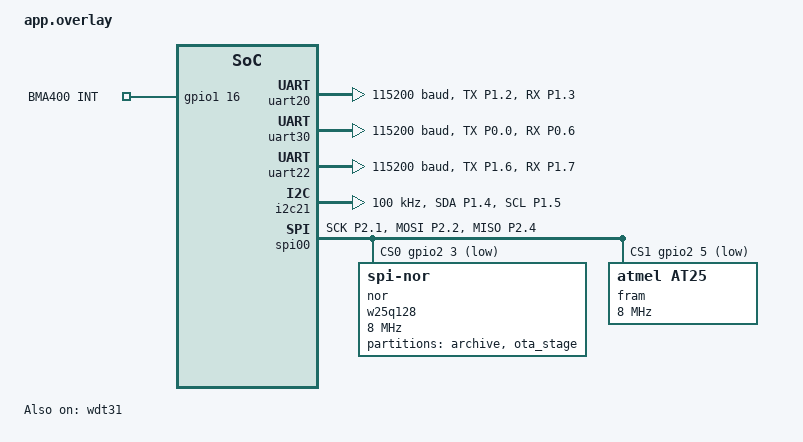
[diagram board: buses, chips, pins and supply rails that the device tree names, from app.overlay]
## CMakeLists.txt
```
cmake_minimum_required(VERSION 3.20.0)
find_package(Zephyr REQUIRED HINTS $ENV{ZEPHYR_BASE})
project(sw_gateway)

# sensor_proto.h lives in src/ (self-contained repo).
# NOTE: gnss.c/.h and ec200.c/.h are reused from the wagen1 GPS->MQTT project.
# The QMTSUB/QMTRECV additions for receiving downlink commands go into ec200.c
# (see ec200_cmd.c for the exact AT commands).
target_sources(app PRIVATE
	src/main.c
	src/motion.c
	src/nodes.c
	src/node_link.c
	src/ble_sensors.c
	src/telemetry.c
	src/thermal.c
	src/gwalarm.c
	src/ota.c
	src/nodeota.c
	src/ec200_cmd.c
	src/power.c
	src/watchdog.c
	src/charger.c
	src/config.c
	src/sw_secure.c
	src/sht40.c
	src/bma400.c
	src/storage.c
	src/gnss.c
	src/ec200.c
	src/modem_simple.c
)
```

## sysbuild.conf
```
# Build MCUboot as the bootloader (dual-slot, signed images) alongside the app.
SB_CONFIG_BOOTLOADER_MCUBOOT=y

# Production image-signing key. PUBLIC half is compiled into MCUboot; PRIVATE
# half signs each image. Absolute path, deliberately outside the repo.
# Losing this file means no deployed device will ever accept another OTA.
SB_CONFIG_BOOT_SIGNATURE_KEY_FILE="D:/Z_CONTROLLER_DATA/7.NRF54L15/FIRST_TRIAL/keys/sw_signing_key.pem"
```

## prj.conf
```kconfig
# --- BLE: observe sensor nodes + central (relay OTA to nodes) + peripheral
#         (field-service SMP DFU of the gateway itself) ---
CONFIG_BT=y
CONFIG_BT_OBSERVER=y
CONFIG_BT_CENTRAL=y
CONFIG_BT_PERIPHERAL=y

# --- MCUboot dual-slot firmware update (gateway self-OTA via cellular) ---
CONFIG_BOOTLOADER_MCUBOOT=y

# --- SMP over BLE (MCUmgr): field-service DFU of the gateway ---
CONFIG_MCUMGR=y
CONFIG_MCUMGR_TRANSPORT_BT=y
CONFIG_MCUMGR_GRP_IMG=y
CONFIG_MCUMGR_GRP_OS=y
# (OS-group reset ships with MCUMGR_GRP_OS in current NCS; the old
#  MCUMGR_GRP_OS_RESET symbol was removed.)
CONFIG_IMG_MANAGER=y
CONFIG_STREAM_FLASH=y
CONFIG_FLASH=y
CONFIG_FLASH_MAP=y
CONFIG_ZCBOR=y
CONFIG_CRC=y
# For relaying an image to a sub-node, add the MCUmgr image-upload CLIENT
# (NCS): CONFIG_MCUMGR_GRP_IMG_CLIENT=y + CONFIG_SMP_CLIENT=y  (see node_dfu.c)

# --- UARTs: LC29H GPS + EC200 modem (interrupt-driven) ---
CONFIG_SERIAL=y
CONFIG_UART_INTERRUPT_DRIVEN=y
CONFIG_RING_BUFFER=y             # gnss.c / ec200.c ISR<->thread byte FIFOs

# --- GPIO (BMA400 impact-wake INT on P1.16) ---
CONFIG_GPIO=y

# --- I2C for BMA400 + SHT40 (SDA=P1.04, SCL=P1.05) ---
CONFIG_I2C=y

# --- Memory: NOR (store-and-forward) + FRAM (pointers) on SPI (P2) ---
CONFIG_SPI=y
CONFIG_FLASH=y
CONFIG_FLASH_MAP=y
CONFIG_FLASH_PAGE_LAYOUT=y
CONFIG_SPI_NOR=y
# Runtime SFDP: the driver reads the NOR's parameter table from the chip at boot
# (no 'sfdp-bfp' devicetree blob needed). Switch back to SFDP_DEVICETREE only if
# you add the W25Q128 sfdp-bfp + jedec-id to the node to shave the boot read.
CONFIG_SPI_NOR_SFDP_RUNTIME=y
CONFIG_EEPROM=y
CONFIG_EEPROM_AT25=y              # generic SPI FRAM/EEPROM (verify part)
CONFIG_CBPRINTF_FP_SUPPORT=y      # (already set) for %f in payloads

# --- Console is repinned to the debug header on P1.02/P1.03 (NFC pins).
#     Schematic confirms D_TX = P1.02/NFC1 and D_RX = P1.03/NFC2, so the NFC
#     function MUST be released or the console is dead.
#     On the nRF54L15 that is NOT a Kconfig: CONFIG_NFCT_PINS_AS_GPIOS is an
#     nRF52/nRF53-only symbol and assigning it here is a fatal Kconfig warning.
#     The nRF54L equivalent is a UICR devicetree property - see
#     "&uicr { nfct-pins-as-gpios; }" in app.overlay. ---

# --- events + float printf for the JSON payload ---
CONFIG_EVENTS=y
CONFIG_CBPRINTF_FP_SUPPORT=y
CONFIG_FPU=y
CONFIG_PICOLIBC=y

CONFIG_MAIN_STACK_SIZE=6144
CONFIG_HEAP_MEM_POOL_SIZE=4096

# sys_reboot() for the reboot command / OTA apply
CONFIG_REBOOT=y
CONFIG_POWEROFF=y                 # sys_poweroff() -> System OFF (deepest)

# --- OTA / DFU: stream the HTTP-downloaded image into MCUboot's slot-1 ---
# Requires MCUboot as the bootloader (enable in sysbuild: SB_CONFIG_BOOTLOADER_MCUBOOT=y)
CONFIG_BOOTLOADER_MCUBOOT=y
CONFIG_IMG_MANAGER=y
CONFIG_STREAM_FLASH=y
CONFIG_IMG_ERASE_PROGRESSIVELY=y  # erase slot-1 as we write, not all up front
CONFIG_DFU_TARGET=y
CONFIG_DFU_TARGET_MCUBOOT=y
CONFIG_DFU_TARGET_STREAM=y

# =========================================================================
#  POWER MANAGEMENT (6-year battery target)
# =========================================================================
# Tickless kernel (default on) + PM => the idle thread automatically puts the
# SoC into System ON idle (CPU asleep, RADIO/GRTC/GPIO alive) whenever every
# thread is blocked. The BLE controller keeps scanning in hardware and wakes
# the CPU only for radio events, so BLE interrupts KEEP WORKING while idle.
# System OFF is NOT entered automatically here (it would kill the radio); it is
# used explicitly via sys_poweroff() only when a GPIO is the sole wake source.
# NOTE: CONFIG_PM (system PM) is unavailable on the nRF54L15 in NCS v3.4.0 -
# only the nRF54H/nRF92 families "select HAS_PM", so this assignment is dropped
# and raises a fatal Kconfig warning. No behaviour is lost: the tickless kernel
# already enters System ON idle whenever every thread blocks, and sys_poweroff()
# still reaches System OFF explicitly.
# ---- device power management (RDSO s5.1.20, 6-year life) ----
#
# Both of these were switched OFF while the modem transport was being debugged,
# on the theory that a suspended UARTE was eating the AT replies. That theory
# was wrong: the real fault was in app.overlay, which redefined uart22_default
# with TX and RX swapped and so overrode the corrected board pinctrl. With the
# pins right the modem answers, and there is no longer any reason to run the
# board with power management disabled.
#
# PM_DEVICE alone is passive - nothing suspends unless the application asks it
# to. It buys back the NOR deep-power-down in power.c (mem_power_off()), worth
# ~1 uA of the standing budget.
CONFIG_PM_DEVICE=y

# PM_DEVICE_RUNTIME is the active one: an idle peripheral is auto-suspended,
# and a suspended UARTE applies its `sleep` pinctrl, which carries
# low-power-enable and DISCONNECTS the pins. That is safe here ONLY because
# power.c now holds a runtime-PM reference across each modem/GNSS session -
# see uart_pm_get()/uart_pm_put() there. The reference is taken beside the
# board_out() that raises the rail and dropped beside the one that cuts it, so
# the UART is resumed for exactly as long as the module it talks to has power.
#
# Runtime PM is opted into per device, in power_init(), for uart22 (modem) and
# uart30 (GNSS) only. The console uart20 is deliberately left alone: suspending
# it would drop debug output, and it is not on the switched rail anyway.
CONFIG_PM_DEVICE_RUNTIME=y

# BMA400 impact line must be able to wake even from System OFF (GPIO SENSE).
CONFIG_GPIO=y

# Reset-cause reporting at boot. Brownout, watchdog and software reset demand
# different responses and are otherwise indistinguishable on the console.
CONFIG_HWINFO=y

# Keep the console quiet/deferred so logging never blocks or wakes the CPU.
CONFIG_LOG=y
CONFIG_LOG_MODE_DEFERRED=y
# Deferred logging hands messages to a worker thread through a fixed buffer.
# Early boot produces them far faster than a 115200 console can drain, so the
# default 1 KB overflows and the subsystem prints "--- N messages dropped ---".
# Nothing is wrong when that appears - it is the log subsystem being honest -
# but the dropped lines are exactly the driver init messages worth reading.
CONFIG_LOG_BUFFER_SIZE=8192

# =========================================================================
#  PSA CRYPTO - decrypt/authenticate the encrypted BLE sensor adverts
# =========================================================================
# AES-CCM (advert payload) + HKDF-SHA256 (per-wagon key from the wagon number).
# nRF Security selects the CRACEN/Oberon PSA backend on the nRF54L15.
#
# NOTE: do NOT set CONFIG_NRF_SECURITY. As of NCS v3.4.0 it is a promptless
# "def_bool y" enabled automatically via PSA_CRYPTO_PROVIDER_CUSTOM (the default
# provider on Nordic ARM SoCs); assigning it is a hard Kconfig error. The
# PSA_WANT_* symbols below are the real knobs.
CONFIG_PSA_WANT_KEY_TYPE_AES=y
CONFIG_PSA_WANT_KEY_TYPE_DERIVE=y
CONFIG_PSA_WANT_ALG_CCM=y
CONFIG_PSA_WANT_ALG_HKDF=y
CONFIG_PSA_WANT_ALG_HMAC=y      # HKDF depends on HMAC - required or HKDF is silently off
CONFIG_PSA_WANT_ALG_SHA_256=y

# --- Internal WDT31: the gateway has no external watchdog (sub-nodes have a
#     TPL5010). See src/watchdog.c for the liveness gate. ---
CONFIG_WATCHDOG=y

# --- BLE central + GATT client: deliver queued config to sub-nodes ---
CONFIG_BT_GATT_CLIENT=y

# --- Settings/NVS: node_link persists the per-node downlink counters here.
#     They MUST survive a gateway reboot: re-emitting a counter the node has
#     already accepted would be rejected as a replay, silently wedging that
#     node's config channel. (Gateway app config still lives in FRAM.) ---
CONFIG_SETTINGS=y
CONFIG_SETTINGS_NVS=y
CONFIG_NVS=y

# ---- ATT MTU for the sub-node image transfer -----------------------------
# One sealed image frame (struct sw_img_enc) is 215 B: a 192-byte chunk plus
# the addressing header, the ct_len and the 4-byte MIC. An ATT write request
# adds 3 B, so the link needs an MTU of at least 218 or the write is rejected
# outright and no image can ever move.
#
# These were removed when sub-node OTA was dropped, and had to come back with
# it. 247 leaves headroom without paying for a second ACL buffer size class.
CONFIG_BT_L2CAP_TX_MTU=247
CONFIG_BT_BUF_ACL_TX_SIZE=251
CONFIG_BT_BUF_ACL_RX_SIZE=251

# On-die temperature sensor - RDSO s5.1.10 requires the gateway to be able
# to halt transmissions on an internal temperature reading. See thermal.c.
CONFIG_SENSOR=y
CONFIG_TEMP_NRF5=y

# ---- BLE output power ----------------------------------------------------
# Default is 0 dBm; the nRF54L15 supports +8 dBm. This governs the gateway's
# TRANSMIT side only - the connectable config window that carries threshold and
# OTA frames down to a node. Node adverts reaching the gateway are governed by
# the node's own setting.
#
# The power cost is far easier to justify here than on a node: the gateway runs
# from a solar-fed rechargeable LTO pack, not a primary cell with a six-year
# budget.
CONFIG_BT_CTLR_TX_PWR_ANTENNA=8
```

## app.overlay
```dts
/*
 * Gateway UART/I2C/GPIO map — MATCHED TO main_node_schematic_nrf54l15.
 *
 *   Console (debug hdr D_TX/D_RX) : uart20  TX=P1.02(NFC1)  RX=P1.03(NFC2)
 *   LC29H GNSS (UART_x_LC)        : uart30  RX=P0.00        TX=P0.06
 *   EC200 modem (UART_RX/UART_TX) : uart22  RX=P1.06        TX=P1.07
 *   BMA400 + SHT40 (I2C)          : i2c21   SDA=P1.04       SCL=P1.05
 *   BMA400 INT                    : P1.16
 *
 * NOTE: P1.02/P1.03 are the NFC pins. To use them as the console UART the NFC
 * function must be released. On the nRF54L15 that is the &uicr property below,
 * NOT the nRF52/nRF53-only CONFIG_NFCT_PINS_AS_GPIOS Kconfig.
 * On the DK this repins the console off VCOM; that's correct for the custom
 * board. For DK bench testing you may prefer to leave the console at its
 * board default and only keep the GNSS/EC200/I2C/BMA changes below.
 */

/* Release P1.02/P1.03 from the NFC antenna function so uart20 can drive the
 * D_TX/D_RX debug header. Required on the QFN52 gateway board. */
&uicr {
	nfct-pins-as-gpios;
};

/*
 * Internal watchdog. The gateway board has NO external watchdog (the sub-nodes
 * have a TPL5010), so WDT31 is the only hang recovery available. It is
 * status = "disabled" in the SoC devicetree, so it must be enabled here or
 * DEVICE_DT_GET(DT_ALIAS(watchdog0)) fails to link. See src/watchdog.c.
 */
&wdt31 {
	status = "okay";
};

/ {
	/*
	 * NOTE: there is deliberately no "nordic,pm-ext-flash" chosen node here.
	 * It only takes effect with CONFIG_PARTITION_MANAGER_ENABLED, which this
	 * build does not use (it partitions from devicetree), so it was inert.
	 * Its purpose was to place MCUboot's secondary slot on the external NOR
	 * for sub-node image staging - a feature that has been removed.
	 */

	aliases {
		/* Point at the CHILD key (it carries the gpios property), not the
		 * gpio-keys parent, so GPIO_DT_SPEC_GET(DT_ALIAS(bma_int), gpios) works. */
		bma-int = &bma_int;
	};

	bma_int_node: bma-int-node {
		compatible = "gpio-keys";     /* gives us a gpios phandle */
		bma_int: bma_int {
			gpios = <&gpio1 16 (GPIO_ACTIVE_HIGH)>;  /* BMA_INT = P1.16 */
			label = "BMA400 INT";
		};
	};
};

&pinctrl {
	/* Console on the debug header (D_TX/D_RX = P1.02/P1.03) */
	uart20_default: uart20_default {
		group1 { psels = <NRF_PSEL(UART_TX, 1, 2)>, <NRF_PSEL(UART_RX, 1, 3)>; };
	};
	uart20_sleep: uart20_sleep {
		group1 { psels = <NRF_PSEL(UART_TX, 1, 2)>, <NRF_PSEL(UART_RX, 1, 3)>;
			 low-power-enable; };
	};

	/*
	 * LC29H GNSS: our TX=P0.00, our RX=P0.06.
	 *
	 * Same reversal as the modem below, and the same cause - this overlay
	 * overrode the corrected board pinctrl. The schematic nets are named from
	 * the MODULE's side: UART_TX_LC carries the LC29H's TRANSMITTER (module
	 * pin 20) to nRF pin 24 = P0.06, so P0.06 is OUR receiver.
	 */
	uart30_default: uart30_default {
		group1 { psels = <NRF_PSEL(UART_TX, 0, 0)>, <NRF_PSEL(UART_RX, 0, 6)>; };
	};
	uart30_sleep: uart30_sleep {
		group1 { psels = <NRF_PSEL(UART_TX, 0, 0)>, <NRF_PSEL(UART_RX, 0, 6)>;
			 low-power-enable; };
	};

	/*
	 * EC200 modem: our TX=P1.06, our RX=P1.07.
	 *
	 * THIS OVERLAY WAS THE BUG. sw_gateway-pinctrl.dtsi was corrected to this
	 * mapping, and all_hw_test - which defines no uart22 pinctrl of its own -
	 * picked the fix up and started talking to the modem immediately. This
	 * file redefines the same pinctrl nodes and therefore OVERRODE that
	 * correction, so the application kept the original reversed pins.
	 *
	 * Per the netlist: EC200U MAIN_TXD (module pin 67, an OUTPUT) reaches nRF
	 * pin 9 = P1.07 through the TXS0102, so P1.07 must be OUR RX. With TX on
	 * P1.07 the gateway drove an output against the module's output and
	 * listened on the module's RXD input, so nothing could ever arrive -
	 * exactly what every log showed: commands sent, the NETLIGHT reacting to
	 * PWRKEY (a plain GPIO, unaffected by this), and not one byte received.
	 */
	uart22_default: uart22_default {
		group1 { psels = <NRF_PSEL(UART_TX, 1, 6)>, <NRF_PSEL(UART_RX, 1, 7)>; };
	};
	uart22_sleep: uart22_sleep {
		group1 { psels = <NRF_PSEL(UART_TX, 1, 6)>, <NRF_PSEL(UART_RX, 1, 7)>;
			 low-power-enable; };
	};

	/* BMA400 + SHT40 shared I2C: SDA=P1.04, SCL=P1.05 */
	i2c21_default: i2c21_default {
		group1 { psels = <NRF_PSEL(TWIM_SDA, 1, 4)>, <NRF_PSEL(TWIM_SCL, 1, 5)>;
			 bias-pull-up; };
	};
	i2c21_sleep: i2c21_sleep {
		group1 { psels = <NRF_PSEL(TWIM_SDA, 1, 4)>, <NRF_PSEL(TWIM_SCL, 1, 5)>;
			 low-power-enable; };
	};
};

/* console (repinned to the debug header) */
&uart20 {
	status = "okay";
	current-speed = <115200>;
	pinctrl-0 = <&uart20_default>;
	pinctrl-1 = <&uart20_sleep>;
	pinctrl-names = "default", "sleep";
};

/* GNSS */
&uart30 {
	status = "okay";
	current-speed = <115200>;
	pinctrl-0 = <&uart30_default>;
	pinctrl-1 = <&uart30_sleep>;
	pinctrl-names = "default", "sleep";
};

/* EC200 modem */
&uart22 {
	status = "okay";
	current-speed = <115200>;
	pinctrl-0 = <&uart22_default>;
	pinctrl-1 = <&uart22_sleep>;
	pinctrl-names = "default", "sleep";
};

/* sensors I2C */
&i2c21 {
	status = "okay";
	clock-frequency = <I2C_BITRATE_STANDARD>;
	pinctrl-0 = <&i2c21_default>;
	pinctrl-1 = <&i2c21_sleep>;
	pinctrl-names = "default", "sleep";
};

/*
 * Memory SPI bus (P2 high-speed SPIM): NOR (W25Q128) + FRAM.
 *   SCK=P2.01  MOSI=P2.02  MISO=P2.04   NOR_CS=P2.03  FRAM_CS=P2.05
 * NOTE: verify the SPIM node label (spi00) and the jedec-id/FRAM part for your
 * build. The NOR now carries a single 15 MB "archive" partition; the separate
 * ota_stage partition went away with sub-node firmware update.
 */
&pinctrl {
	spi00_default: spi00_default {
		group1 {
			psels = <NRF_PSEL(SPIM_SCK, 2, 1)>,
				<NRF_PSEL(SPIM_MOSI, 2, 2)>,
				<NRF_PSEL(SPIM_MISO, 2, 4)>;
		};
	};
	spi00_sleep: spi00_sleep {
		group1 {
			psels = <NRF_PSEL(SPIM_SCK, 2, 1)>,
				<NRF_PSEL(SPIM_MOSI, 2, 2)>,
				<NRF_PSEL(SPIM_MISO, 2, 4)>;
			low-power-enable;
		};
	};
};

&spi00 {
	status = "okay";
	pinctrl-0 = <&spi00_default>;
	pinctrl-1 = <&spi00_sleep>;
	pinctrl-names = "default", "sleep";
	cs-gpios = <&gpio2 3 GPIO_ACTIVE_LOW>,   /* NOR_CS  (P2.03) */
		   <&gpio2 5 GPIO_ACTIVE_LOW>;   /* FRAM_CS (P2.05) */

	nor: w25q128@0 {
		compatible = "jedec,spi-nor";
		reg = <0>;
		spi-max-frequency = <8000000>;
		jedec-id = [ef 40 18];           /* W25Q128JV */
		size = <0x8000000>;              /* 128 Mbit (bits) */
		has-dpd;
		t-enter-dpd = <3000>;
		t-exit-dpd  = <3000>;

		partitions {
			compatible = "fixed-partitions";
			#address-cells = <1>;
			#size-cells = <1>;
			/*
			 * W25Q128 (jedec-id ef 40 18), 128 Mbit = 16 MB:
			 *
			 *   0x000000   1.0 MB  reserved (head kept clear)
			 *   0x100000  14.5 MB  archive   - store-and-forward
			 *   0xF80000   0.5 MB  ota_stage - ONE sub-node image
			 *
			 * THESE MUST MATCH pm_static.yml EXACTLY. They previously did
			 * not: this file gave the archive 15 MB running to the end of
			 * the chip, while PM placed a 1 MB ota_partition at 0xF00000 -
			 * INSIDE that range. The store-and-forward ring would have
			 * overwritten a staged firmware image.
			 *
			 * 0.5 MB is sized on the real signed sub-node image
			 * (193,712 B). Only ONE is ever staged: NODE_ID is
			 * compile-time, so every node has a different image and they
			 * are delivered one at a time regardless.
			 *
			 * Archive capacity: records span 1 KB SLOTS (storage.c) and a
			 * heartbeat is ~1.7 KB = 2 slots, so 14.5 MB holds ~7400
			 * heartbeats - about 51 days at the 10-minute moving cadence,
			 * comfortably past the 30-day requirement. (An older comment
			 * here said "4 KB per record", which the code has never done;
			 * that figure made the archive look half its real depth.)
			 *
			 * RESIZING THIS LATER DISCARDS THE BACKLOG. The ring's
			 * head/tail are SLOT NUMBERS held in FRAM, and slot count is
			 * derived from this partition size. Change the size and the
			 * two disagree, so storage_init() detects it (head/tail >=
			 * num_slots) and resets the ring to empty. It cannot corrupt
			 * or crash - but any telemetry still queued for upload on that
			 * gateway is lost on the next boot. Safe to change now; costly
			 * once units are deployed offline.
			 */
			archive_partition: partition@100000 {
				label = "archive";
				reg = <0x100000 0xE80000>;
			};

			/* Staging area for ONE sub-node firmware image: the gateway
			 * downloads it over HTTP, then relays it to the target node
			 * over the authenticated BLE downlink. Erased after delivery
			 * so the next node's image can be staged. */
			ota_partition: partition@f80000 {
				label = "ota_stage";
				reg = <0xF80000 0x80000>;
			};
		};
	};

	fram: fram@1 {
		compatible = "atmel,at25";       /* generic SPI FRAM/EEPROM */
		reg = <1>;
		spi-max-frequency = <8000000>;
		size = <0x80000>;                /* 512 KB (bytes) */
		pagesize = <0x80000>;            /* FRAM: no page-write limit */
		address-width = <24>;
		timeout = <1>;
	};
};
```

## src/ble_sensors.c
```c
/*
 * Gateway BLE observer: passively scans for Smart Wagon sensor-node
 * advertisements, caches the latest reading per node_id, and raises a
 * callback when a node broadcasts an ALARM. Low duty cycle for battery life.
 */

#include <zephyr/kernel.h>
#include <zephyr/bluetooth/bluetooth.h>
#include <string.h>

#include "ble_sensors.h"
#include "sw_secure.h"
#include "app_config.h"
#include "nodes.h"

/* BLE scan interval/window are in 0.625 ms units. */
#define BLE_SCAN_UNITS(ms)  ((uint16_t)((ms) * 8 / 5))

static struct sw_node_entry cache[SW_MAX_NODES];
static struct k_mutex       cache_lock;
static void (*alarm_cb)(const struct sw_adv *a, int8_t rssi);
static uint16_t my_group;      /* this wagon's group; 0 = accept all */

/* Anti-replay: last accepted nonce counter per node (must strictly increase). */
static uint32_t last_ctr[SW_MAX_NODES];
static bool     have_ctr[SW_MAX_NODES];

void ble_sensors_set_group(uint16_t wgn_group) { my_group = wgn_group; }

struct parse_ctx { int8_t rssi; const bt_addr_le_t *addr; };

/* Fired when a node opens its CONNECTABLE config/DFU window. The node beacons
 * 4 bytes of manufacturer data (company id + node id + type) - far shorter than
 * sw_adv_enc, so the uplink branch below skips it and the two never collide. */
static void (*window_cb)(uint8_t node_id, uint8_t node_type,
			 const bt_addr_le_t *addr);

void ble_sensors_register_window_cb(void (*cb)(uint8_t, uint8_t,
					       const bt_addr_le_t *))
{
	window_cb = cb;
}

/* Called for each AD structure in an advertisement. */
static bool ad_parse(struct bt_data *data, void *user)
{
	struct parse_ctx *ctx = user;

	/* Sub-node connectable window beacon: company id + node id + node type. */
	if (data->type == BT_DATA_MANUFACTURER_DATA && data->data_len == 4) {
		uint16_t cid = (uint16_t)data->data[0] | ((uint16_t)data->data[1] << 8);

		if (cid == SW_COMPANY_ID && window_cb) {
			window_cb(data->data[2], data->data[3], ctx->addr);
		}
		return false;
	}

	if (data->type == BT_DATA_MANUFACTURER_DATA &&
	    data->data_len >= sizeof(struct sw_adv_enc)) {
		struct sw_adv_enc enc;
		memcpy(&enc, data->data, sizeof(enc));

		/* Cheap cleartext checks first (no crypto for foreign packets). */
		if (enc.company_id != SW_COMPANY_ID ||
		    enc.proto_ver  != SW_PROTO_VER) {
			return true;    /* not ours; keep scanning AD fields */
		}
		/* MULTI-WAGON FILTER: reject other wagons' groups outright. */
		if (my_group != 0 && enc.wgn_group != my_group) {
			return false;
		}
		if (enc.node_id >= SW_MAX_NODES) {
			return false;
		}

		/* Verify + decrypt. A bad tag (tamper / wrong key) -> drop. */
		struct sw_adv a;
		if (sw_secure_open(&enc, &a) != 0) {
			return false;
		}

		k_mutex_lock(&cache_lock, K_FOREVER);
		/* Anti-replay: counter must strictly increase per node. */
		if (have_ctr[enc.node_id] && enc.ctr <= last_ctr[enc.node_id]) {
			k_mutex_unlock(&cache_lock);
			return false;   /* replayed / stale advert */
		}
		last_ctr[enc.node_id] = enc.ctr;
		have_ctr[enc.node_id] = true;

		bool first = !cache[enc.node_id].seen;

		cache[enc.node_id].seen  = true;
		cache[enc.node_id].data  = a;
		cache[enc.node_id].rssi  = ctx->rssi;
		cache[enc.node_id].ts_ms = k_uptime_get();
		k_mutex_unlock(&cache_lock);

#if DEBUG_TRACE
		/*
		 * Bench visibility. Nothing used to print on a SUCCESSFUL receive,
		 * so a working link and a dead one looked identical on the console
		 * and the only evidence was a heartbeat several minutes later.
		 *
		 * Reaching this point means far more than "a packet arrived": the
		 * company id, protocol version and wagon group all matched, the
		 * AES-CCM tag verified against the per-wagon key, and the replay
		 * counter advanced. So this line is proof the whole security chain
		 * lines up between this gateway and that node - which is exactly
		 * what a first bring-up needs to confirm.
		 */
		printk("RX %s node %u (%s)  val %d  val2 %d  batt %u%%  "
		       "flags 0x%02X  rssi %d\n",
		       first ? "FIRST" : "     ", enc.node_id,
		       sw_typ_str(a.node_type), a.value, a.value2, a.batt,
		       a.flags, ctx->rssi);
#endif

		/* Forward to the adjudicator (main.c) when the subnode already flags
		 * ALARM (impact / tamper / over-temp), OR when a DOOR node reports it
		 * is OPEN - the gateway itself decides whether open-while-moving is an
		 * unauthorised-door alarm, using its authoritative motion + geofence. */
		bool actionable = (a.flags & SW_FLAG_ALARM) ||
				  (a.node_type == SW_TYPE_DOOR &&
				   (a.flags & SW_FLAG_DOOR_OPEN));
		if (actionable && alarm_cb) {
			alarm_cb(&a, ctx->rssi);
		}
		return false;   /* found ours; stop parsing this advert */
	}
	return true;   /* keep scanning AD fields */
}

static void scan_cb(const bt_addr_le_t *addr, int8_t rssi, uint8_t adv_type,
		    struct net_buf_simple *buf)
{
	ARG_UNUSED(adv_type);
	struct parse_ctx ctx = { .rssi = rssi, .addr = addr };
	bt_data_parse(buf, ad_parse, &ctx);
}

int ble_sensors_init(void)
{
	k_mutex_init(&cache_lock);

	int err = bt_enable(NULL);
	if (err) {
		printk("BLE: enable failed (%d)\n", err);
		return err;
	}

	/*
	 * Critical-alarm receive window, protocol Rev.1 section 3.6:
	 * listen RX_WINDOW_MS (100 ms) every RX_INTERVAL_MS (5 s). BLE scan
	 * parameters are in 0.625 ms units, so the spec values are converted
	 * here rather than hardcoded - previously these constants existed in
	 * app_config.h but nothing used them, and the scan ran 30 ms/1000 ms.
	 */
	struct bt_le_scan_param sp = {
		.type     = BT_LE_SCAN_TYPE_PASSIVE,
		.options  = BT_LE_SCAN_OPT_NONE,
		.interval = BLE_SCAN_UNITS(RX_INTERVAL_MS),
		.window   = BLE_SCAN_UNITS(RX_WINDOW_MS),
	};
	err = bt_le_scan_start(&sp, scan_cb);
	if (err) {
		printk("BLE: scan start failed (%d)\n", err);
		return err;
	}
	printk("BLE: background observer running\n");
	return 0;
}

void ble_sensors_register_alarm_cb(void (*cb)(const struct sw_adv *a, int8_t rssi))
{
	alarm_cb = cb;
}

void ble_sensors_refresh(int window_ms)
{
	/* higher-duty boost (~83%) for a short window */
	struct bt_le_scan_param boost = {
		.type     = BT_LE_SCAN_TYPE_PASSIVE,
		.options  = BT_LE_SCAN_OPT_NONE,
		.interval = 0x0060,
		.window   = 0x0050,
	};
	/* low-power background (~3%) */
	struct bt_le_scan_param bg = {
		.type     = BT_LE_SCAN_TYPE_PASSIVE,
		.options  = BT_LE_SCAN_OPT_NONE,
		.interval = BLE_SCAN_UNITS(RX_INTERVAL_MS),
		.window   = BLE_SCAN_UNITS(RX_WINDOW_MS),
	};

	bt_le_scan_stop();
	if (bt_le_scan_start(&boost, scan_cb) == 0) {
		k_msleep(window_ms);       /* collect stragglers */
	}
	bt_le_scan_stop();
	bt_le_scan_start(&bg, scan_cb);    /* restore low-power scan */
}

int ble_sensors_snapshot(struct sw_node_entry *out, int max)
{
	int count = 0;
	k_mutex_lock(&cache_lock, K_FOREVER);
	for (int i = 0; i < SW_MAX_NODES && count < max; i++) {
		if (cache[i].seen) {
			out[count++] = cache[i];
		}
	}
	k_mutex_unlock(&cache_lock);
	return count;
}

bool ble_sensors_get(uint8_t node_id, struct sw_node_entry *out)
{
	bool seen = false;
	if (node_id < SW_MAX_NODES) {
		k_mutex_lock(&cache_lock, K_FOREVER);
		if (cache[node_id].seen) {
			*out = cache[node_id];
			seen = true;
		}
		k_mutex_unlock(&cache_lock);
	}
	return seen;
}

/* ---- scan control for the central role ---------------------------------
 * The controller cannot scan and initiate a connection simultaneously, so
 * node_link brackets its connect sequence with these. Resume restores the same
 * low-power background parameters used at init.
 */
void ble_sensors_scan_pause(void)
{
	bt_le_scan_stop();
}

void ble_sensors_scan_resume(void)
{
	struct bt_le_scan_param bg = {
		.type     = BT_LE_SCAN_TYPE_PASSIVE,
		.options  = BT_LE_SCAN_OPT_NONE,
		.interval = BLE_SCAN_UNITS(RX_INTERVAL_MS),
		.window   = BLE_SCAN_UNITS(RX_WINDOW_MS),
	};
	(void)bt_le_scan_start(&bg, scan_cb);
}

#if DEBUG_TRACE
void ble_sensors_dump(void)
{
	int64_t now  = k_uptime_get();
	int     up   = 0;

	printk("%s---- NODES (roster %d) ------------------------------------%s",
	       "\n", wagon_node_count(), "\n");

	for (int i = 0; i < wagon_node_count(); i++) {
		const struct wagon_node *w = wagon_node_at(i);
		struct sw_node_entry e;
		bool have;

		k_mutex_lock(&cache_lock, K_FOREVER);
		e    = cache[w->id];
		have = e.seen;
		k_mutex_unlock(&cache_lock);

		if (!have) {
			printk("  %2u %-8s %-8s  MISSING%s",
			       w->id, sw_typ_str(w->type), w->pos, "\n");
			continue;
		}
		up++;

		/*
		 * Age matters as much as presence: a node heard once at boot and
		 * silent since is NOT healthy, but a plain "seen" flag cannot say
		 * so. NODE_STALE_MS is the same limit telem_check_node_health()
		 * uses to raise SENSOR_FAULT, so the console and the uplink agree
		 * about what counts as down.
		 */
		int32_t age_s = (int32_t)((now - e.ts_ms) / 1000);
		const char *st = (now - e.ts_ms) > NODE_STALE_MS ? "STALE" : "ok";

		printk("  %2u %-8s %-8s  %-5s %3ds  rssi %4d  "
		       "val %6d  val2 %6d  batt %3u%%  flags 0x%02X%s",
		       w->id, sw_typ_str(w->type), w->pos, st, age_s, e.rssi,
		       e.data.value, e.data.value2, e.data.batt, e.data.flags,
		       "\n");
	}
	printk("  %d/%d heard%s%s", up, wagon_node_count(), "\n", "\n");
}
#endif
```

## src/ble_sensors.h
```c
#ifndef BLE_SENSORS_H
#define BLE_SENSORS_H

#include <stdint.h>
#include <stdbool.h>
#include <zephyr/bluetooth/addr.h>
#include "sensor_proto.h"

#define SW_MAX_NODES 20

struct sw_node_entry {
	bool           seen;
	struct sw_adv  data;
	int8_t         rssi;
	int64_t        ts_ms;      /* uptime when last heard */
};

/* Set THIS wagon's group id BEFORE init. Adverts from other groups are
 * discarded so neighbouring wagons never contaminate this wagon's data. */
void ble_sensors_set_group(uint16_t wgn_group);

/* Start BLE, begin the low-power background observer. Call once at boot. */
int  ble_sensors_init(void);

/* Register a callback fired when a node broadcasts with the ALARM flag. */
void ble_sensors_register_alarm_cb(void (*cb)(const struct sw_adv *a, int8_t rssi));

/* Register a callback fired when a sub-node opens its CONNECTABLE config/DFU
 * window. node_link uses this to connect and deliver a queued command; the
 * gateway is already scanning continuously, so no extra radio time is needed. */
void ble_sensors_register_window_cb(void (*cb)(uint8_t node_id, uint8_t node_type,
					       const bt_addr_le_t *addr));

/* Pause/resume the background observer around a central connection (the
 * controller cannot scan and initiate at the same time). */
void ble_sensors_scan_pause(void);
void ble_sensors_scan_resume(void);

/* Copy the current cache (one entry per node_id). Returns count of seen nodes. */
int  ble_sensors_snapshot(struct sw_node_entry *out, int max);

/*
 * Print the full expected roster to the console: every node this wagon should
 * have, whether it has been heard, how long ago, and its last reading.
 *
 * Deliberately driven by WAGON_NODES rather than by the receive cache, so a
 * node that has NEVER been heard still appears - as a MISSING row. A dump built
 * from the cache alone would silently omit exactly the nodes worth worrying
 * about.
 *
 * Bench aid; compiled out when DEBUG_TRACE is 0.
 */
void ble_sensors_dump(void);

/* Look up one node by id. Returns true if it has ever been heard. */
bool ble_sensors_get(uint8_t node_id, struct sw_node_entry *out);

/*
 * Briefly raise the scan duty to catch stragglers before a heartbeat, then
 * restore the low-power background scan. Called only at report time (every
 * 10 min / 12 h) so the extra RX energy is negligible. Blocks for window_ms.
 */
void ble_sensors_refresh(int window_ms);

#endif /* BLE_SENSORS_H */
```

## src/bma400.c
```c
/*
 * BMA400 accelerometer driver (I2C, addr 0x14 - SDO tied low per schematic).
 * Wide range (±16 g) so a high-energy impact is captured at true magnitude;
 * a high-g (generic) interrupt is routed to INT1 -> P1.16 for impact/tamper
 * wake. The rail (SW_AXI) is kept powered by power_init() (always-on wake).
 *
 * NOTE: interrupt thresholds are first-cut; tune GEN1 threshold/duration to
 * your shock profile and RDSO impact/derailment criteria.
 */
#include <zephyr/kernel.h>
#include <zephyr/drivers/i2c.h>
#include <math.h>
#include "bma400.h"
#include "app_config.h"   /* MOTION_ACC_VAR, IMPACT_G_THRESH */

#define BMA_ADDR        0x14
#define REG_CHIPID      0x00   /* = 0x90 */
#define REG_ACC_X_LSB   0x04
#define REG_ACC_CONFIG0 0x19   /* power mode */
#define REG_ACC_CONFIG1 0x1A   /* range + ODR */
#define REG_INT_CONFIG0 0x1F
#define REG_INT1_MAP    0x21
#define REG_GEN1CONFIG0 0x3F   /* generic interrupt 1 config block */

static const struct device *const i2c = DEVICE_DT_GET(DT_NODELABEL(i2c21));

static int wr(uint8_t reg, uint8_t val)
{
	uint8_t b[2] = { reg, val };
	return i2c_write(i2c, b, 2, BMA_ADDR);
}
static int rd(uint8_t reg, uint8_t *buf, int n)
{
	return i2c_write_read(i2c, BMA_ADDR, &reg, 1, buf, n);
}

int bma400_init(void)
{
	if (!device_is_ready(i2c)) {
		return -1;
	}
	/*
	 * Distinguish a FAILED BUS from a WRONG CHIP.
	 *
	 * This used to print "chip id 0x%02x" using an id left at 0 when the read
	 * errored, so a dead I2C bus reported itself as "chip id 0x00" - which
	 * reads as a real part answering with a wrong value. The two need
	 * completely different investigations: a bus error points at the rail, the
	 * pull-ups, or an unpopulated part; a genuine mismatch means the wrong
	 * device is fitted. The errno separates them at a glance.
	 */
	uint8_t id = 0;
	int rc = rd(REG_CHIPID, &id, 1);

	if (rc != 0) {
		printk("BMA400: I2C read failed (%d) - check the SW_AXI rail "
		       "(P2.00), the bus pull-ups, and that the part is "
		       "populated\n", rc);
		return -ENODEV;
	}
	if (id != 0x90) {
		printk("BMA400: wrong chip id 0x%02x (expected 0x90)\n", id);
		return -ENODEV;
	}

	/* ACC_CONFIG1: range ±16g (bits7:6=3), ODR 100 Hz (0x08) -> 0xC8 */
	wr(REG_ACC_CONFIG1, 0xC8);
	/* ACC_CONFIG0: normal power mode (0x02). For lowest power use 0x01
	 * (low-power) once the interrupt path is tuned. */
	wr(REG_ACC_CONFIG0, 0x02);
	k_msleep(5);

	/* Route generic interrupt 1 (high-g/activity) to INT1 (-> P1.16).
	 * GEN1 threshold/duration left at reset here; set per shock profile. */
	wr(REG_INT1_MAP, 0x04);        /* map GEN1 -> INT1 (verify bit) */
	wr(REG_INT_CONFIG0, 0x04);     /* enable GEN1 (verify bit)      */

	printk("BMA400: ready (±16g, INT1->P1.16)\n");
	return 0;
}

int bma400_read_g(double *x, double *y, double *z)
{
	uint8_t b[6];
	if (rd(REG_ACC_X_LSB, b, 6) != 0) {
		return -EIO;
	}
	/* Right-aligned 12-bit two's complement: LSB = bits[7:0],
	 * MSB low nibble = bits[11:8]. Sign-extend from bit 11. */
	int16_t rx = (int16_t)(((b[1] & 0x0F) << 8) | b[0]);
	int16_t ry = (int16_t)(((b[3] & 0x0F) << 8) | b[2]);
	int16_t rz = (int16_t)(((b[5] & 0x0F) << 8) | b[4]);
	if (rx & 0x0800) rx -= 4096;
	if (ry & 0x0800) ry -= 4096;
	if (rz & 0x0800) rz -= 4096;
	/* ±16g full scale, 12-bit signed -> g = raw * 16 / 2048 */
	const double s = 16.0 / 2048.0;
	*x = rx * s; *y = ry * s; *z = rz * s;
	return 0;
}

double bma400_magnitude_g(void)
{
	double x, y, z;
	if (bma400_read_g(&x, &y, &z) != 0) {
		return 0.0;
	}
	return sqrt(x * x + y * y + z * z);
}

bool bma400_is_moving(void)
{
	/* Burst-sample |a| and use its variance. A still wagon reads ~1 g with
	 * tiny variance; a rolling wagon vibrates -> higher variance. */
	double sum = 0.0, sum2 = 0.0;
	int n = 0;
	for (int i = 0; i < 16; i++) {
		double x, y, z;
		if (bma400_read_g(&x, &y, &z) == 0) {
			double m = sqrt(x * x + y * y + z * z);
			sum += m;
			sum2 += m * m;
			n++;
		}
		k_msleep(5);
	}
	if (n < 4) {
		return false;
	}
	double mean = sum / n;
	double var  = (sum2 / n) - (mean * mean);
	return var > MOTION_ACC_VAR;   /* g^2 threshold (tune on hardware) */
}
```

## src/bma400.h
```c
#ifndef BMA400_H
#define BMA400_H
#include <stdbool.h>

/* Configure BMA400 (I2C 0x14): ±16 g wide range so a real impact is not
 * clipped, and a high-g/activity interrupt routed to INT1 (P1.16) for
 * impact/tamper wake. Returns 0 on success (chip id verified). */
int bma400_init(void);

/* Read acceleration in g (x,y,z). */
int bma400_read_g(double *x, double *y, double *z);

/* Vector magnitude in g (for the impact alarm 'val'). */
double bma400_magnitude_g(void);

/* Is the wagon moving right now? Bursts a few samples and looks at the
 * variance of |a| - vibration => moving. Cheap; the debounce upstream makes
 * the decision robust. */
bool bma400_is_moving(void);

#endif
```

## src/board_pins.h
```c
/*
 * board_pins.h — control GPIOs of the gateway, taken directly from
 * main_node_schematic_nrf54l15. Include this where the firmware needs to drive
 * power sequencing (GNSS rail around a fix, memory rail for store-and-forward,
 * etc.). Comms pins (GNSS/EC200 UART, I2C, BMA_INT) are in app.overlay.
 *
 * Port map: P0.x -> gpio0, P1.x -> gpio1, P2.x -> gpio2.
 */
#ifndef BOARD_PINS_H
#define BOARD_PINS_H

#include <zephyr/device.h>
#include <zephyr/drivers/gpio.h>

#define GPIO0 DEVICE_DT_GET(DT_NODELABEL(gpio0))
#define GPIO1 DEVICE_DT_GET(DT_NODELABEL(gpio1))
#define GPIO2 DEVICE_DT_GET(DT_NODELABEL(gpio2))

/* ---- GNSS (LC29H) control ---- */
#define PIN_GNSS_PWR_EN   GPIO1, 9    /* enable GNSS 3.3V converter        */
#define PIN_SW_LC         GPIO0, 1    /* switched GNSS main rail (on@fix)  */
#define PIN_LC_RESET      GPIO0, 2    /* LC29H reset                       */
#define PIN_LC_WKP        GPIO0, 3    /* keep-alive / wakeup (warm start)  */
#define PIN_GNSS_RESET    GPIO1, 13
#define PIN_GNSS_PWRKEY   GPIO1, 14

/* ---- sensor / memory power switches ---- */
#define PIN_SW_AXI        GPIO2, 0    /* BMA400 accelerometer rail         */
#define PIN_SW_SHT_LC     GPIO0, 5    /* SHT40 rail                        */
#define PIN_SW_MEM        GPIO0, 4    /* NOR + FRAM rail (store-and-forward)*/

/* ---- power path / charger ---- */
#define PIN_POWER_SWITCH  GPIO1, 12
#define PIN_MUX_ST        GPIO1, 11   /* power-mux status/select           */
#define PIN_CHG_QON       GPIO1, 8    /* charger QON                       */
#define PIN_CHG_INT       GPIO1, 15   /* charger interrupt (input)         */
#define PIN_NRF_CE        GPIO1, 10   /* BQ25798 charger CE (active-LOW)   */

/* ---- EC200U modem (schematic sheets 3/4) ----
 * SW_GNSS gates the shared 3.8V comms rail (U8 TPS22917 -> 3.8V buck IC8 ->
 * net 3.8V_GNSS), which powers BOTH the EC200 modem VBAT AND the GNSS front
 * end. Active-HIGH. This is the modem's power enable.
 *
 * PWRKEY and RESET_N reach the EC200 through NPN transistors, so the nRF pin is
 * ACTIVE-HIGH but pulls the modem line LOW:
 *   MODEM_PWRKEY high -> T2 on -> EC200 PWRKEY low   (turn-on pulse, >=500 ms)
 *   MODEM_RESET  high -> T1 on -> EC200 RESET_N low  (reset asserted)
 * (The nets are labelled GNSS_* on the combined board but wire to the EC200.)
 * VERIFY polarity/timing on the bench before production. */
#define PIN_SW_GNSS       GPIO2, 8    /* shared 3.8V comms rail enable      */

/*
 * TXS0102 level-shifter supply, net GNSS_3V3 -> P2.09.
 *
 * This GPIO is not a control line, it is the SUPPLY (VCCB) for the translator
 * sitting between the nRF UART (P1.06/P1.07) and the EC200U's MAIN_TXD/MAIN_RXD.
 * The netlist shows the net reaching exactly two pins: U1.21 here and B2.7 on
 * the shifter. Nothing else drives it.
 *
 * While it is low the translator is unpowered and that UART is dead in BOTH
 * directions - the modem can be perfectly healthy and still appear silent.
 * The A side is fed from the EC200U's own VDD_EXT, so B must be raised for the
 * link to work at all.
 *
 * A GPIO as a rail is unusual, so METER B2 pin 7 before trusting this.
 */
#define PIN_GNSS_3V3      GPIO2, 9
#define PIN_MODEM_PWRKEY  GPIO1, 14   /* net GNSS_PWRKEY -> EC200 PWRKEY (T2)*/
#define PIN_MODEM_RESET   GPIO1, 13   /* net GNSS_RESET  -> EC200 RESET_N(T1)*/

/* ---- accelerometer interrupt (also exposed as the bma-int alias) ---- */
#define PIN_BMA_INT       GPIO1, 16

/* ---- convenience helpers ---- */
/*
 * GPIO_OUTPUT | GPIO_INPUT, not GPIO_OUTPUT alone.
 *
 * Connecting the input buffer as well costs nothing and makes board_level()
 * below possible: the pad can then be READ while still being driven. Without
 * it there is no way to tell "the firmware wrote 1" from "the pin is at 3.3 V",
 * and those differ whenever something external holds a line down.
 *
 * That distinction cost a bring-up session. The modem would not answer, every
 * rail had been driven high, and there was no way to check any of it without a
 * meter on a board already covered in probes.
 */
/*
 * PLAIN GPIO_OUTPUT - exactly what all_hw_test's drive() does.
 *
 * This briefly used GPIO_OUTPUT | GPIO_INPUT so board_level() could read a pin
 * back while it was still driving. That was added to diagnose the modem, and
 * the NETLIGHT - which had been blinking after a PWRKEY pulse - stopped
 * entirely from that build onwards.
 *
 * PWRKEY reaches the module through T2, a BC847B whose base sees roughly
 * 0.55 mA through R58 (4.7k). That is well inside a standard-drive pin, but it
 * is the one signal on this board that must actually sink current rather than
 * just present a level, and it is the only pin whose behaviour changed. The
 * readback was a debugging convenience; starting the modem is not.
 *
 * So: match the helper that demonstrably works, and get readback some other way
 * if it is ever needed again.
 */
static inline int board_out(const struct device *port, int pin, int val)
{
	int r = gpio_pin_configure(port, pin, GPIO_OUTPUT);

	if (r == 0) {
		gpio_pin_set(port, pin, val);
	}
	return r;
}

/*
 * Read a driven pin back AT THE PAD. Returns 0/1, or -1 if it cannot be read.
 *
 * Non-destructive: the pin keeps driving. Note this detects a pin held down
 * externally - a short, or a load switch pulling against us - but NOT an open
 * circuit: an unsoldered pin reads back the nRF's own drive quite happily.
 */
static inline int board_level(const struct device *port, int pin)
{
	if (!device_is_ready(port)) {
		return -1;
	}
	return gpio_pin_get(port, pin);
}

static inline int board_in(const struct device *port, int pin, gpio_flags_t extra)
{
	return gpio_pin_configure(port, pin, GPIO_INPUT | extra);
}

/*
 * Usage:
 *   board_out(PIN_SW_LC, 1);     // power the GNSS rail on before a fix
 *   board_out(PIN_SW_LC, 0);     // power it off after
 *   board_out(PIN_SW_MEM, 1);    // power memory before store-and-forward
 *   board_in (PIN_CHG_INT, GPIO_PULL_UP);
 */

#endif /* BOARD_PINS_H */
```

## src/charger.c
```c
/*
 * TI BQ25798 (BQ25798RQMR) charger driver - battery telemetry for the gateway.
 *
 * The BQ25798 has a built-in 16-bit ADC that measures VBAT, VSYS, VBUS, IBAT,
 * etc. We drive it in ONE-SHOT mode (ADC_EN self-clears after one round) so it
 * costs power only when we actually sample, and we cache the result so a burst
 * of uplinks in one wake doesn't re-trigger the I2C + conversion every message.
 *
 * Bus: i2c21 (shared with BMA400 + SHT40).  Address: 0x6B (fixed).
 *
 * REGISTER MAP (per the BQ25798 datasheet - verify against your silicon rev):
 *   0x1C  Charger_Status_1 : CHG_STAT in bits [7:5]
 *   0x2E  ADC_Control      : bit7 ADC_EN, bit6 ADC_RATE (1=one-shot)
 *   0x31/32 IBUS_ADC   0x33/34 IBAT_ADC (signed, 1 mA/LSB)
 *   0x35/36 VBUS_ADC   0x3B/3C VBAT_ADC   0x3D/3E VSYS_ADC  (all 1 mV/LSB)
 */
#include <zephyr/kernel.h>
#include <zephyr/drivers/i2c.h>
#include "charger.h"
#include "app_config.h"     /* GW_BATT_FULL_MV / GW_BATT_EMPTY_MV (seeds) */
#include "config.h"         /* cfg_batt_full_mv() / cfg_batt_empty_mv()   */

#define BQ_ADDR         0x6B
#define REG_CHG_STAT1   0x1C
#define REG_PART_INFO   0x48   /* PN[5:3] = 0b011 on the BQ25798 */
#define REG_ADC_CTRL    0x2E
#define REG_IBAT_ADC    0x33
#define REG_VBUS_ADC    0x35
#define REG_VBAT_ADC    0x3B
#define REG_VSYS_ADC    0x3D

#define ADC_EN          0x80
#define ADC_ONESHOT     0x40     /* ADC_RATE=1 -> single conversion round     */

#define REFRESH_MS      20000    /* re-read the charger at most every 20 s    */

static const struct device *const i2c = DEVICE_DT_GET(DT_NODELABEL(i2c21));

static struct charger_status cache;
static int64_t cache_ts;         /* 0 = never read                            */

static int rd16(uint8_t reg, uint16_t *v)
{
	uint8_t b[2];
	int rc = i2c_burst_read(i2c, BQ_ADDR, reg, b, 2);
	if (rc) {
		return rc;
	}
	*v = ((uint16_t)b[0] << 8) | b[1];
	return 0;
}

/* Li-titanate (LTO) has a sloped discharge, so voltage->% is usable (unlike the
 * flat Li-SOCl2 subnode cell). Linear between the pack's empty/full points. */
static uint8_t soc_from_vbat(uint16_t mv)
{
	/* Runtime map, not the compile-time seed: both ends are settable with
	 * dn/cmd set_batt so a pack can be characterised in service without a
	 * firmware build. cfg_set_batt() guarantees full - empty >=
	 * GW_BATT_MV_SPAN, so the divisor below is never zero. */
	uint16_t full  = cfg_batt_full_mv();
	uint16_t empty = cfg_batt_empty_mv();

	if (mv >= full) {
		return 100;
	}
	if (mv <= empty) {
		return 0;
	}
	return (uint8_t)(((uint32_t)(mv - empty) * 100) / (full - empty));
}

int charger_init(void)
{
	if (!device_is_ready(i2c)) {
		printk("charger: i2c21 not ready\n");
		return -ENODEV;
	}

	/*
	 * Read PART_INFO so a missing or mute charger is reported AT BOOT.
	 *
	 * device_is_ready() only says the nRF TWIM controller came up; it says
	 * nothing about whether anything answers at 0x6B. Without this the
	 * gateway boots silently and then publishes battery telemetry assembled
	 * from failed reads - worse than no telemetry, because an operator has no
	 * way to tell a flat wagon from a broken charger.
	 *
	 * PN occupies bits 5:3 and reads 0b011 on the BQ25798. The remaining bits
	 * are silicon revision and are deliberately not checked.
	 */
	uint8_t pi = 0;
	int rc = i2c_reg_read_byte(i2c, BQ_ADDR, REG_PART_INFO, &pi);

	if (rc != 0) {
		printk("charger: BQ25798 not responding at 0x%02X (%d)\n",
		       BQ_ADDR, rc);
		return -ENODEV;
	}
	if (((pi >> 3) & 0x07) != 0x03) {
		printk("charger: unexpected part id 0x%02X at 0x%02X\n",
		       pi, BQ_ADDR);
		return -ENODEV;
	}
	printk("charger: BQ25798 ready\n");
	return 0;
}

int charger_read(struct charger_status *s)
{
	int64_t now = k_uptime_get();
	if (cache_ts != 0 && (now - cache_ts) < REFRESH_MS) {
		*s = cache;                 /* fresh enough - reuse */
		return cache.valid ? 0 : -EIO;
	}

	struct charger_status r = { 0 };

	/* Kick a one-shot ADC round, then wait for it to finish (~24 ms at the
	 * default resolution; 50 ms is a safe margin). */
	if (i2c_reg_write_byte(i2c, BQ_ADDR, REG_ADC_CTRL, ADC_EN | ADC_ONESHOT) != 0) {
		r.valid = false;
		cache = r; cache_ts = now;
		*s = r;
		return -EIO;
	}
	k_msleep(50);

	uint16_t v;
	bool ok = true;
	ok &= (rd16(REG_VBAT_ADC, &r.vbat_mv) == 0);
	if (rd16(REG_VSYS_ADC, &v) == 0) { r.vsys_mv = v; }
	if (rd16(REG_VBUS_ADC, &v) == 0) { r.vbus_mv = v; }
	if (rd16(REG_IBAT_ADC, &v) == 0) { r.ibat_ma = (int16_t)v; }

	uint8_t st = 0;
	if (i2c_reg_read_byte(i2c, BQ_ADDR, REG_CHG_STAT1, &st) == 0) {
		r.chg_state = (st >> 5) & 0x7;
	}

	r.vbus_present = (r.vbus_mv > 3800);   /* rough: an input source present  */
	r.soc          = soc_from_vbat(r.vbat_mv);
	r.valid        = ok;

	cache = r; cache_ts = now;
	*s = r;
	return ok ? 0 : -EIO;
}

const char *charger_chg_str(uint8_t chg_state)
{
	switch (chg_state) {
	case 0x0: return "idle";      /* not charging          */
	case 0x1: return "trickle";
	case 0x2: return "precharge";
	case 0x3: return "fast";      /* CC                    */
	case 0x4: return "taper";     /* CV                    */
	case 0x6: return "topoff";
	case 0x7: return "done";      /* charge terminated     */
	default:  return "unk";
	}
}
```

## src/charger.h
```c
#ifndef CHARGER_H
#define CHARGER_H
#include <stdint.h>
#include <stdbool.h>

/*
 * TI BQ25798 (BQ25798RQMR) buck-boost charger with a built-in 16-bit ADC.
 * The gateway's LTO pack is rechargeable, so - unlike the primary-cell
 * subnodes - we read the real pack voltage / current / charge state from the
 * charger over I2C (bus i2c21, addr 0x6B) rather than the nRF SAADC.
 */
struct charger_status {
	uint16_t vbat_mv;      /* battery pack voltage        (1 mV/LSB)         */
	uint16_t vsys_mv;      /* system rail voltage                            */
	uint16_t vbus_mv;      /* input (solar/USB) voltage                      */
	int16_t  ibat_ma;      /* battery current: + charging, - discharging     */
	uint8_t  chg_state;    /* raw CHG_STAT field (REG1C[7:5])                */
	bool     vbus_present; /* an input source is supplying power             */
	uint8_t  soc;          /* 0..100, mapped from vbat (LTO curve)           */
	bool     valid;        /* false if the last I2C read failed              */
};

int         charger_init(void);                        /* probe the BQ25798   */
int         charger_read(struct charger_status *s);    /* cached (<=1/20 s)   */
const char *charger_chg_str(uint8_t chg_state);        /* "fast","done",...   */

#endif /* CHARGER_H */
```
